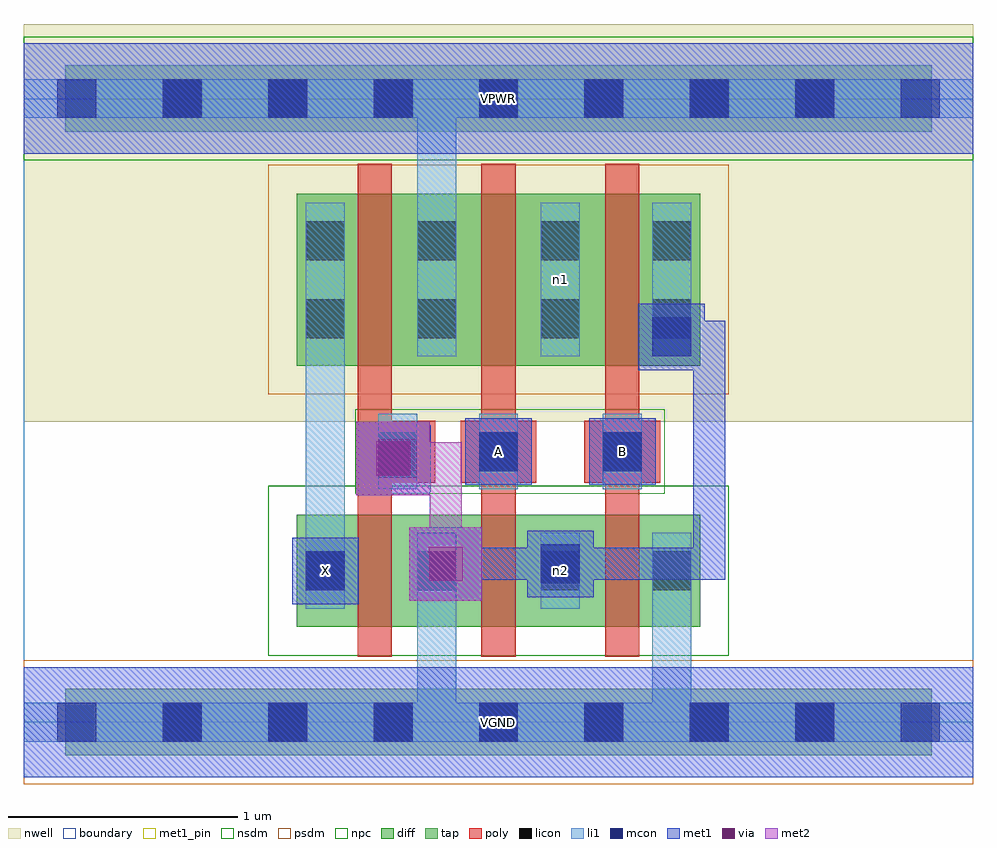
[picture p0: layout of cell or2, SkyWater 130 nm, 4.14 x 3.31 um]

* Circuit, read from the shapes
.subckt or2 A B VGND VPWR X n1 n2
XM1 VGND n2 X VGND sky130_fd_pr__nfet_01v8 w=0.49 l=0.15
XM2 n2 A VGND VGND sky130_fd_pr__nfet_01v8 w=0.49 l=0.15
XM3 VGND B n2 VGND sky130_fd_pr__nfet_01v8 w=0.49 l=0.15
XM4 VPWR n2 X VPWR sky130_fd_pr__pfet_01v8 w=0.75 l=0.15
XM5 n1 A VPWR VPWR sky130_fd_pr__pfet_01v8 w=0.75 l=0.15
XM6 n2 B n1 VPWR sky130_fd_pr__pfet_01v8 w=0.75 l=0.15
.ends

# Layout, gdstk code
import gdstk
lib = gdstk.Library(unit=1e-6, precision=1e-09)
def R(c, l, rs):  # rectangles x0, y0, x1, y1
    for r in rs: c.add(gdstk.rectangle(r[:2], r[2:], *l))
def A(c, l, x, y, w, h, nx, ny, dx, dy):  # array of equal rectangles
    R(c, l, [(x+i*dx, y+j*dy, x+i*dx+w, y+j*dy+h) for i in range(nx) for j in range(ny)])
nwell = (64, 20)
diff = (65, 20)
tap = (65, 44)
poly = (66, 20)
licon = (66, 44)
li1 = (67, 20)
mcon = (67, 44)
met1_pin = (68, 16)
met1 = (68, 20)
via = (68, 44)
met2 = (69, 20)
nsdm = (93, 44)
psdm = (94, 20)
npc = (95, 20)
boundary = (235, 4)

or2 = lib.new_cell('or2')
R(or2, nwell, [(0,1.31,4.14,3.045)])
R(or2, diff, [(1.19,0.415,2.95,0.905), (1.19,1.555,2.95,2.305)])
R(or2, tap, [(0.18,-0.145,3.96,0.145), (0.18,2.575,3.96,2.865)])
A(or2, poly, 1.455, 0.285, 0.15, 2.15, 3, 1, 0.54, 0)
R(or2, poly, [(1.465,1.045,1.795,1.315), (1.905,1.045,2.235,1.315), (2.445,1.045,2.775,1.315)])
A(or2, licon, 0.605, -0.085, 0.17, 0.17, 7, 2, 0.46, 2.72)
R(or2, licon, [(1.23,0.575,1.4,0.745), (1.715,0.575,1.885,0.745), (2.255,0.575,2.425,0.745), (2.74,0.575,2.91,0.745), (1.545,1.095,1.715,1.265), (1.985,1.095,2.155,1.265), (2.525,1.095,2.695,1.265), (1.23,1.675,1.4,1.845), (1.715,1.675,1.885,1.845), (2.255,1.675,2.425,1.845), (2.74,1.675,2.91,1.845), (1.23,2.015,1.4,2.185), (1.715,2.015,1.885,2.185), (2.255,2.015,2.425,2.185), (2.74,2.015,2.91,2.185)])
R(or2, li1, [(0,-0.085,4.14,0.085), (1.715,-0.085,1.885,0.825), (2.74,-0.085,2.91,0.825), (1.23,0.495,1.4,0.825), (1.23,0.495,1.4,2.265), (1.715,0.495,1.885,0.825), (2.255,0.495,2.425,0.825), (2.74,0.495,2.91,0.825), (1.545,1.015,1.715,1.345), (1.985,1.015,2.155,1.345), (2.525,1.015,2.695,1.345), (1.23,1.595,1.4,2.265), (1.715,1.595,1.885,2.265), (1.715,1.595,1.885,2.805), (2.255,1.595,2.425,2.265), (2.74,1.595,2.91,2.265), (0,2.635,4.14,2.805)])
A(or2, mcon, 0.145, -0.085, 0.17, 0.17, 9, 2, 0.46, 2.72)
R(or2, mcon, [(1.23,0.575,1.4,0.745), (2.255,0.605,2.425,0.775), (1.545,1.065,1.715,1.235), (1.985,1.095,2.155,1.265), (2.525,1.095,2.695,1.265), (2.74,1.595,2.91,1.765)])
R(or2, met1_pin, [(0,-0.24,4.14,0.24), (1.17,0.515,1.46,0.805), (1.925,1.035,2.215,1.325), (2.465,1.035,2.755,1.325), (0,2.48,4.14,2.96)])
R(or2, met1, [(0,-0.24,4.14,0.24), (1.17,0.515,1.46,0.805), (1.68,0.53,2,0.85), (2.195,0.545,2.485,0.835), (1.77,0.62,2.255,0.76), (2.115,0.62,2.41,0.76), (2.115,0.62,3.06,0.76), (2.92,0.62,3.06,1.565), (1.45,0.99,1.77,1.31), (1.485,1.005,1.775,1.295), (1.925,1.035,2.215,1.325), (2.465,1.035,2.755,1.325), (1.54,1.08,1.7,1.22), (2.92,1.425,3.06,1.75), (2.68,1.535,2.97,1.825), (2.755,1.61,3.06,1.75), (0,2.48,4.14,2.96)])
R(or2, via, [(1.765,0.615,1.915,0.765), (1.535,1.075,1.685,1.225)])
R(or2, met2, [(1.68,0.53,2,0.85), (1.77,0.62,1.91,1.22), (1.45,0.99,1.77,1.31), (1.54,1.08,1.91,1.22)])
R(or2, nsdm, [(1.065,0.29,3.075,1.03), (0,2.45,4.14,2.99)])
R(or2, psdm, [(0,-0.27,4.14,0.27), (1.065,1.43,3.075,2.43)])
R(or2, npc, [(1.445,0.995,2.795,1.365)])
R(or2, boundary, [(0,0,4.14,2.72)])
or2.add(gdstk.Label('n2', (2.34,0.66), layer=67, texttype=5))
or2.add(gdstk.Label('n1', (2.34,1.93), layer=67, texttype=5))
or2.add(gdstk.Label('A', (2.07,1.18), layer=68, texttype=5))
or2.add(gdstk.Label('B', (2.61,1.18), layer=68, texttype=5))
or2.add(gdstk.Label('X', (1.315,0.66), layer=68, texttype=5))
or2.add(gdstk.Label('VPWR', (2.07,2.72), layer=68, texttype=5))
or2.add(gdstk.Label('VGND', (2.07,0), layer=68, texttype=5))
or2.add(gdstk.Label('A', (2.07,1.18), layer=68, texttype=16))
or2.add(gdstk.Label('B', (2.61,1.18), layer=68, texttype=16))
or2.add(gdstk.Label('X', (1.315,0.66), layer=68, texttype=16))
or2.add(gdstk.Label('VPWR', (2.07,2.72), layer=68, texttype=16))
or2.add(gdstk.Label('VGND', (2.07,0), layer=68, texttype=16))

lib.write_gds('or2.gds')
